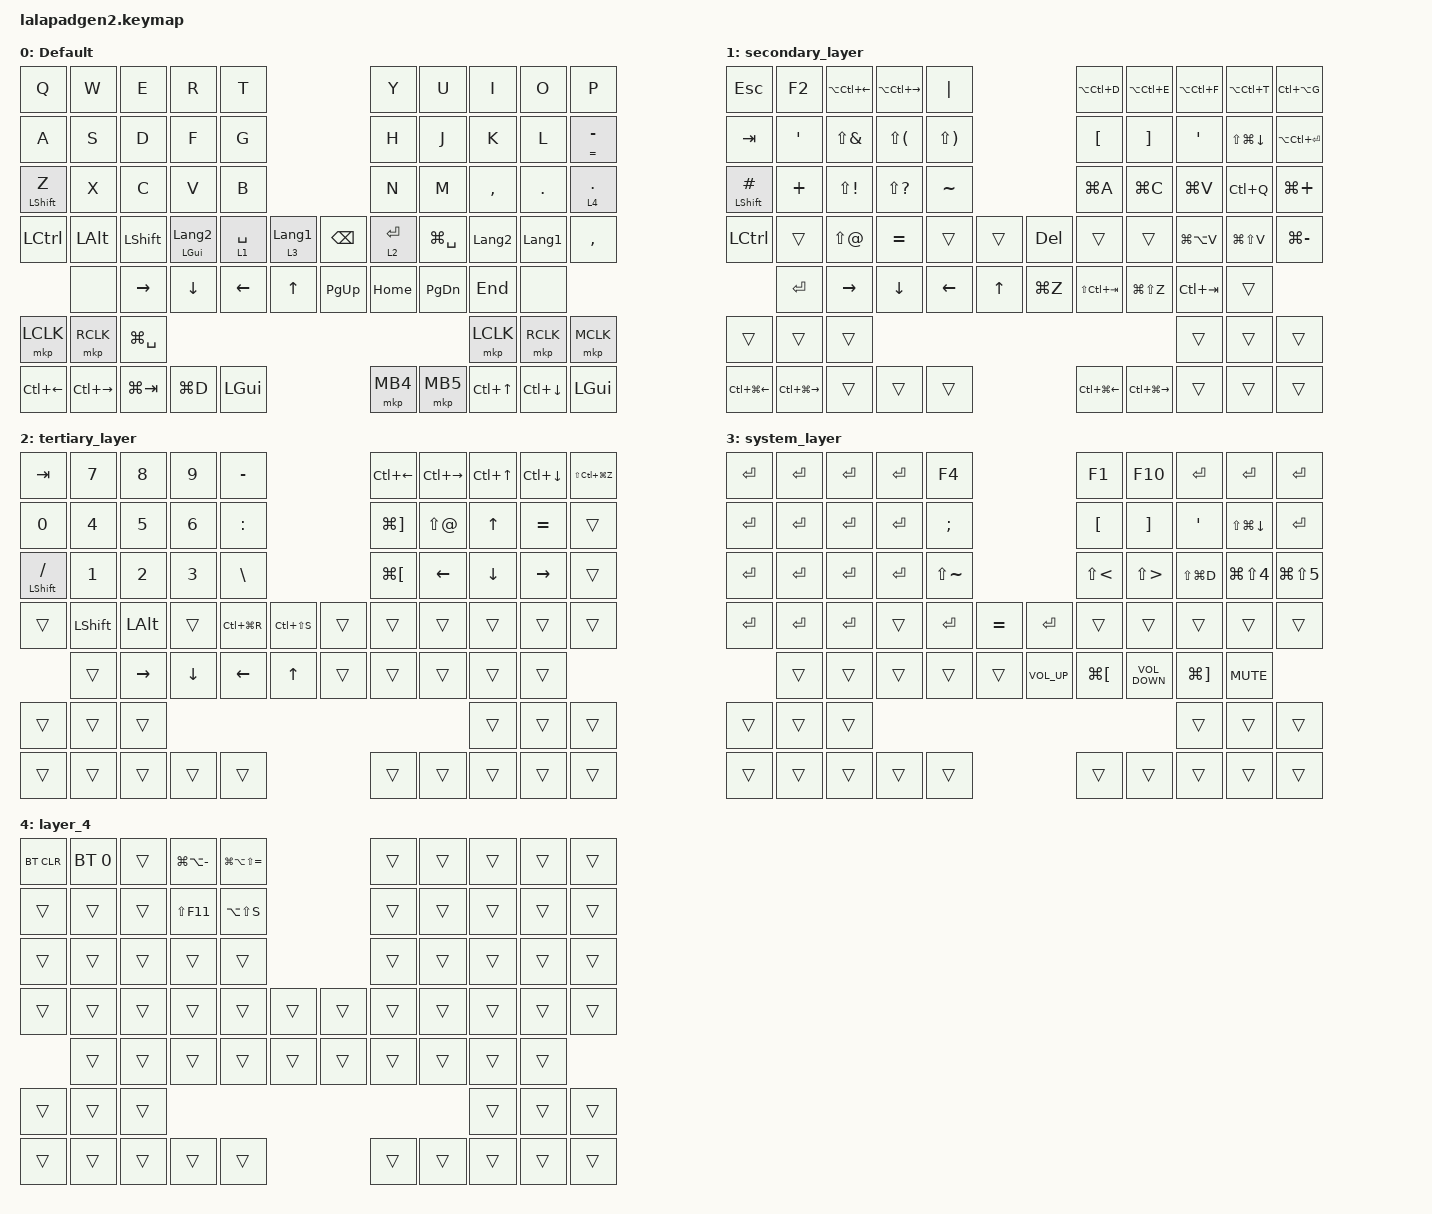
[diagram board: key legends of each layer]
#include <input/processors.dtsi>
#include <dt-bindings/zmk/zip_dynamic_scale.h>
#include <behaviors.dtsi>
#include <dt-bindings/zmk/bt.h>
#include <dt-bindings/zmk/keys.h>
#include <dt-bindings/zmk/pointing.h>

#define DEFAULT_LAYER   0
#define SECONDARY_LAYER 1
#define TERTIARY_LAYER  2
#define SYSTEM_LAYER    3

&mt { quick-tap-ms = <200>; };

&lt { quick-tap-ms = <200>; };

/ {
    behaviors {
        zip_dyn_scale: zip_dyn_scale {
            compatible = "zmk,behavior-zip-dynamic-scale";
            #binding-cells = <2>;
        };

        zip_dyn_scale_set: zip_dyn_scale_set {
            compatible = "zmk,behavior-zip-dynamic-scale-set";
            #binding-cells = <2>;
        };

        mt2: mod_tap2 {
            compatible = "zmk,behavior-hold-tap";
            #binding-cells = <2>;
            flavor = "tap-preferred";
            tapping-term-ms = <200>;
            quick-tap-ms = <200>;
            require-prior-idle-ms = <125>;
            bindings = <&kp>, <&kp>;
        };

        tap_dance_layer_1and2: tap_dance_layer_1and2 {
            compatible = "zmk,behavior-tap-dance";
            label = "td_mo12";
            #binding-cells = <0>;
            bindings = <&mo 1>, <&mo 2>;
        };
    };

    combos {
        compatible = "zmk,combos";

        cmd+w {
            bindings = <&kp LG(W)>;
            key-positions = <0 1>;
        };

        tab {
            bindings = <&kp TAB>;
            key-positions = <10 11>;
        };

        cmd+f {
            bindings = <&kp LG(F)>;
            key-positions = <13 14>;
        };

        cmd+option+u {
            bindings = <&kp LG(LA(U))>;
            key-positions = <5 6>;
        };
    };

    keymap {
        compatible = "zmk,keymap";

        DEFAULT_LAYER {
            display-name = "Default";
            bindings = <
&kp Q              &kp W          &kp E          &kp R                    &kp T                                          &kp Y        &kp U          &kp I           &kp O           &kp P
&kp A              &kp S          &kp D          &kp F                    &kp G                                          &kp H        &kp J          &kp K           &kp L           &mt2 EQUAL MINUS
&mt2 LEFT_SHIFT Z  &kp X          &kp C          &kp V                    &kp B                                          &kp N        &kp M          &kp COMMA       &kp PERIOD      &lt 4 PERIOD
&kp LCTRL          &kp LALT       &kp LSHIFT     &mt LEFT_GUI LANGUAGE_2  &lt 1 SPACE   &lt 3 LANGUAGE_1  &kp BACKSPACE  &lt 2 ENTER  &kp LG(SPACE)  &kp LANGUAGE_2  &kp LANGUAGE_1  &kp COMMA
                   &none          &kp RIGHT      &kp DOWN                 &kp LEFT      &kp UP            &kp PAGE_UP    &kp HOME     &kp PAGE_DOWN  &kp END         &none
&mkp LCLK          &mkp RCLK      &kp LG(SPACE)                                                                                                      &mkp LCLK       &mkp RCLK       &mkp MCLK
&kp LC(LEFT)       &kp LC(RIGHT)  &kp LG(TAB)    &kp LG(D)                &kp LEFT_GUI                                   &mkp MB4     &mkp MB5       &kp LC(UP)      &kp LC(DOWN)    &kp LEFT_GUI
            >;
        };

        SECONDARY_LAYER {
            display-name = "secondary_layer";
            bindings = <
&kp ESC           &kp F2             &kp LA(LC(LEFT))     &kp LA(LC(RIGHT))         &kp PIPE                                      &kp LA(LC(D))     &kp LA(LC(E))      &kp LA(LC(F))  &kp LA(LC(T))     &kp LC(LA(G))
&kp TAB           &kp APOS           &kp LS(AMPERSAND)    &kp LS(LEFT_PARENTHESIS)  &kp LS(RIGHT_PARENTHESIS)                     &kp LBKT          &kp RBKT           &kp SQT        &kp LS(LG(DOWN))  &kp LA(LC(RET))
&mt LSHIFT HASH   &kp PLUS           &kp LS(EXCLAMATION)  &kp LS(QUESTION)          &kp TILDE                                     &kp LG(A)         &kp LG(C)          &kp LG(V)      &kp LC(Q)         &kp LG(PLUS)
&kp LCTRL         &trans             &kp LS(AT_SIGN)      &kp EQUAL                 &trans                     &trans  &kp DEL    &trans            &trans             &kp LG(LA(V))  &kp LG(LS(V))     &kp LG(MINUS)
                  &kp ENTER          &kp RIGHT            &kp DOWN                  &kp LEFT                   &kp UP  &kp LG(Z)  &kp LS(LC(TAB))   &kp LG(LS(Z))      &kp LC(TAB)    &trans
&trans            &trans             &trans                                                                                                                            &trans         &trans            &trans
&kp LC(LG(LEFT))  &kp LC(LG(RIGHT))  &trans               &trans                    &trans                                        &kp LC(LG(LEFT))  &kp LC(LG(RIGHT))  &trans         &trans            &trans
            >;
        };

        TERTIARY_LAYER {
            display-name = "tertiary_layer";
            bindings = <
&kp TAB           &kp N7     &kp N8     &kp N9    &kp MINUS                             &kp LC(LEFT)  &kp LC(RIGHT)  &kp LC(UP)  &kp LC(DOWN)  &kp LS(LC(LG(Z)))
&kp N0            &kp N4     &kp N5     &kp N6    &kp COLON                             &kp LG(RBKT)  &kp LS(AT)     &kp UP      &kp EQUAL     &trans
&mt LSHIFT SLASH  &kp N1     &kp N2     &kp N3    &kp BSLH                              &kp LG(LBKT)  &kp LEFT       &kp DOWN    &kp RIGHT     &trans
&trans            &kp LSHFT  &kp LALT   &trans    &kp LC(LG(R))  &kp LC(LS(S))  &trans  &trans        &trans         &trans      &trans        &trans
                  &trans     &kp RIGHT  &kp DOWN  &kp LEFT       &kp UP         &trans  &trans        &trans         &trans      &trans
&trans            &trans     &trans                                                                                  &trans      &trans        &trans
&trans            &trans     &trans     &trans    &trans                                &trans        &trans         &trans      &trans        &trans
            >;
        };

        SYSTEM_LAYER {
            display-name = "system_layer";
            bindings = <
&kp ENTER  &kp ENTER  &kp ENTER  &kp ENTER  &kp F4                                     &kp F1                &kp F10            &kp ENTER              &kp ENTER         &kp ENTER
&kp ENTER  &kp ENTER  &kp ENTER  &kp ENTER  &kp SEMI                                   &kp LBKT              &kp RBKT           &kp SQT                &kp LS(LG(DOWN))  &kp ENTER
&kp ENTER  &kp ENTER  &kp ENTER  &kp ENTER  &kp LS(TILDE)                              &kp LS(LT)            &kp LS(GT)         &kp LS(LG(D))          &kp LG(LS(N4))    &kp LG(LS(N5))
&kp ENTER  &kp ENTER  &kp ENTER  &trans     &kp ENTER      &kp EQUAL  &kp ENTER        &trans                &trans             &trans                 &trans            &trans
           &trans     &trans     &trans     &trans         &trans     &kp K_VOLUME_UP  &kp LG(LEFT_BRACKET)  &kp K_VOLUME_DOWN  &kp LG(RIGHT_BRACKET)  &kp C_MUTE
&trans     &trans     &trans                                                                                                    &trans                 &trans            &trans
&trans     &trans     &trans     &trans     &trans                                     &trans                &trans             &trans                 &trans            &trans
            >;
        };

        layer_4 {
            bindings = <
&bt BT_CLR  &bt BT_SEL 0  &trans  &kp LG(LA(MINUS))  &kp LG(LA(LS(EQUAL)))                  &trans  &trans  &trans  &trans  &trans
&trans      &trans        &trans  &kp LS(F11)        &kp LA(LS(S))                          &trans  &trans  &trans  &trans  &trans
&trans      &trans        &trans  &trans             &trans                                 &trans  &trans  &trans  &trans  &trans
&trans      &trans        &trans  &trans             &trans                 &trans  &trans  &trans  &trans  &trans  &trans  &trans
            &trans        &trans  &trans             &trans                 &trans  &trans  &trans  &trans  &trans  &trans
&trans      &trans        &trans                                                                            &trans  &trans  &trans
&trans      &trans        &trans  &trans             &trans                                 &trans  &trans  &trans  &trans  &trans
            >;
        };
    };

    conditional_layers {
        compatible = "zmk,conditional-layers";

        Cond_Syslayer {
            if-layers = <1 2>;
            then-layer = <3>;
        };
    };
};
